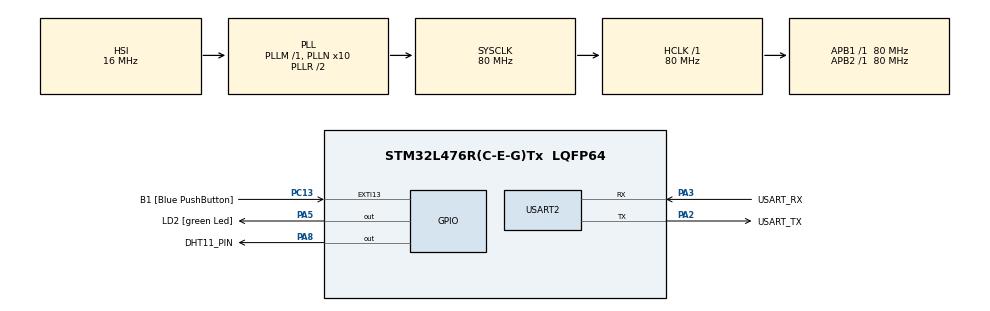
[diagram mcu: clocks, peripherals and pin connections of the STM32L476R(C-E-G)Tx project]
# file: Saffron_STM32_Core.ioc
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Mcu.Family=STM32L4
Mcu.Name=STM32L476R(C-E-G)Tx
Mcu.Package=LQFP64
NVIC.PriorityGroup=NVIC_PRIORITYGROUP_4
NVIC.USART2_IRQn=true\:0\:0\:false\:false\:true\:true\:true\:true
PA13\ (JTMS-SWDIO).GPIO_Label=TMS
PA13\ (JTMS-SWDIO).Mode=Serial_Wire
PA13\ (JTMS-SWDIO).Signal=SYS_JTMS-SWDIO
PA14\ (JTCK-SWCLK).GPIO_Label=TCK
PA14\ (JTCK-SWCLK).Mode=Serial_Wire
PA14\ (JTCK-SWCLK).Signal=SYS_JTCK-SWCLK
PA2.GPIO_Label=USART_TX
PA2.GPIO_Mode=GPIO_MODE_AF_PP
PA2.GPIO_PuPd=GPIO_NOPULL
PA2.GPIO_Speed=GPIO_SPEED_FREQ_VERY_HIGH
PA2.Mode=Asynchronous
PA2.Signal=USART2_TX
PA3.GPIO_Label=USART_RX
PA3.GPIO_Mode=GPIO_MODE_AF_PP
PA3.GPIO_PuPd=GPIO_NOPULL
PA3.GPIO_Speed=GPIO_SPEED_FREQ_VERY_HIGH
PA3.Mode=Asynchronous
PA3.Signal=USART2_RX
PA5.GPIO_Label=LD2 [green Led]
PA5.GPIO_ModeDefaultOutputPP=GPIO_MODE_OUTPUT_PP
PA5.GPIO_PuPd=GPIO_NOPULL
PA5.GPIO_Speed=GPIO_SPEED_FREQ_LOW
PA5.Signal=GPIO_Output
PA8.GPIO_Label=DHT11_PIN
PA8.Signal=GPIO_Output
PB3\ (JTDO-TRACESWO).GPIO_Label=SWO
PB3\ (JTDO-TRACESWO).Signal=SYS_JTDO-SWO
PC13.GPIO_Label=B1 [Blue PushButton]
PC13.GPIO_ModeDefaultEXTI=GPIO_MODE_IT_FALLING
PC13.GPIO_PuPd=GPIO_NOPULL
PC13.Signal=GPXTI13
PC14-OSC32_IN\ (PC14).Mode=LSE-External-Oscillator
PC14-OSC32_IN\ (PC14).Signal=RCC_OSC32_IN
PC15-OSC32_OUT\ (PC15).Mode=LSE-External-Oscillator
PC15-OSC32_OUT\ (PC15).Signal=RCC_OSC32_OUT
PH0-OSC_IN\ (PH0).Mode=HSE-External-Clock-Source
PH0-OSC_IN\ (PH0).Signal=RCC_OSC_IN
PH1-OSC_OUT\ (PH1).Signal=RCC_OSC_OUT
ProjectManager.HeapSize=0x200
ProjectManager.StackSize=0x400
ProjectManager.TargetToolchain=STM32CubeIDE
RCC.ADCFreq_Value=64000000
RCC.AHBFreq_Value=80000000
RCC.APB1Freq_Value=80000000
RCC.APB1TimFreq_Value=80000000
RCC.APB2Freq_Value=80000000
RCC.APB2TimFreq_Value=80000000
RCC.CortexFreq_Value=80000000
RCC.HCLKFreq_Value=80000000
RCC.HSE_VALUE=8000000
RCC.HSI_VALUE=16000000
RCC.MSI_VALUE=4000000
RCC.PLLN=10
RCC.PLLSourceVirtual=RCC_PLLSOURCE_HSI
RCC.PREFETCH_ENABLE=1
RCC.SYSCLKFreq_VALUE=80000000
RCC.SYSCLKSource=RCC_SYSCLKSOURCE_PLLCLK
RCC.USBFreq_Value=64000000
RCC.VCOOutputFreq_Value=160000000
USART2.VirtualMode-Asynchronous=VM_ASYNC
board=NUCLEO-L476RG

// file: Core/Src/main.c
/* USER CODE BEGIN Header */
/**
  ******************************************************************************
  * @file           : main.c
  * @brief          : Main program body
  ******************************************************************************
  * @attention
  *
  * Copyright (c) 2025 STMicroelectronics.
  * All rights reserved.
  *
  * This software is licensed under terms that can be found in the LICENSE file
  * in the root directory of this software component.
  * If no LICENSE file comes with this software, it is provided AS-IS.
  *
  ******************************************************************************
  */
/* USER CODE END Header */
#include "main.h"

/* USER CODE BEGIN Includes */
#include "dht11.h"
#include <stdio.h>   // <-- 添加这一行
#include <string.h>  // <-- 添加这一行
/* USER CODE END Includes */

UART_HandleTypeDef huart2;

/* USER CODE BEGIN PV */
#define RX_BUFFER_SIZE 64 // 定义接收缓冲区的最大长度
uint8_t rx_buffer[RX_BUFFER_SIZE]; // 接收缓冲区
uint8_t rx_data; // 用于存放 HAL_UART_Receive_IT 接收到的单个字节
uint8_t rx_index = 0; // 接收缓冲区的索引
uint8_t command_received = 0; // 命令接收完成标志
/* USER CODE END PV */

void SystemClock_Config(void);
static void MX_GPIO_Init(void);
static void MX_USART2_UART_Init(void);

int main(void)
{

  /* MCU Configuration--------------------------------------------------------*/

  /* Reset of all peripherals, Initializes the Flash interface and the Systick. */
  HAL_Init();

  /* Configure the system clock */
  SystemClock_Config();

  /* Initialize all configured peripherals */
  MX_GPIO_Init();
  MX_USART2_UART_Init();
  /* USER CODE BEGIN 2 */
  // 启用DWT外设，用于微秒级延时
  CoreDebug->DEMCR |= CoreDebug_DEMCR_TRCENA_Msk;
  DWT->CTRL |= DWT_CTRL_CYCCNTENA_Msk;
  DHT11_Data_TypeDef dht_data;
  char tx_buffer[100]; // 定义一个足够大的缓冲区来存放我们的JSON字符串
  HAL_UART_Receive_IT(&huart2, &rx_data, 1);
  /* USER CODE END 2 */

  /* Infinite loop */
  while (1)
  {

	  /* USER CODE BEGIN 3 */
	  // 检查是否有新命令需要处理
	  if (command_received)
	  {
	      // 解析命令
	      // 为了节省资源，我们使用简单的字符串查找，而不是完整的JSON解析
	      if (strstr((char*)rx_buffer, "\"actuator\":\"led\"") && strstr((char*)rx_buffer, "\"action\":\"on\""))
	      {
	          led_on();
	      }
	      else if (strstr((char*)rx_buffer, "\"actuator\":\"led\"") && strstr((char*)rx_buffer, "\"action\":\"off\""))
	      {
	          led_off();
	      }

	      // 处理完毕后，清除命令接收完成标志和缓冲区
	      command_received = 0;
	      memset(rx_buffer, 0, RX_BUFFER_SIZE);
	  }

	  // ---- 温湿度数据读取与发送逻辑 ----
	  if (DHT11_Read_Data(&dht_data)) // 检查是否读取成功
	  {
	    // 1. 使用 sprintf 将数据格式化为 JSON 字符串
	    //    - \" 是转义字符，用来在字符串中表示双引号 "
	    //    - %d 是整数的占位符
	    //    - \r\n 是回车换行符，非常重要，它将作为我们消息的结束标志
	    sprintf(tx_buffer, "{\"temp\":%d,\"humi\":%d}\r\n", dht_data.temperature, dht_data.humidity);

	    // 2. 通过 USART2 发送格式化后的字符串
	    //    - &huart2 是 CubeMX 自动生成的串口句柄
	    //    - (uint8_t*)tx_buffer 是将字符串强制转换为无符号8位整型指针
	    //    - strlen(tx_buffer) 是字符串的实际长度
	    //    - HAL_MAX_DELAY 是超时时间，表示一直等待直到发送完成
	    HAL_UART_Transmit(&huart2, (uint8_t*)tx_buffer, strlen(tx_buffer), HAL_MAX_DELAY);
	  }

	  HAL_Delay(2000); // 延时2秒再进行下一次读取和发送
  }
  /* USER CODE END 3 */
}

void SystemClock_Config(void)
{
  RCC_OscInitTypeDef RCC_OscInitStruct = {0};
  RCC_ClkInitTypeDef RCC_ClkInitStruct = {0};

  /** Configure the main internal regulator output voltage
  */
  if (HAL_PWREx_ControlVoltageScaling(PWR_REGULATOR_VOLTAGE_SCALE1) != HAL_OK)
  {
    Error_Handler();
  }

  /** Initializes the RCC Oscillators according to the specified parameters
  * in the RCC_OscInitTypeDef structure.
  */
  RCC_OscInitStruct.OscillatorType = RCC_OSCILLATORTYPE_HSI;
  RCC_OscInitStruct.HSIState = RCC_HSI_ON;
  RCC_OscInitStruct.HSICalibrationValue = RCC_HSICALIBRATION_DEFAULT;
  RCC_OscInitStruct.PLL.PLLState = RCC_PLL_ON;
  RCC_OscInitStruct.PLL.PLLSource = RCC_PLLSOURCE_HSI;
  RCC_OscInitStruct.PLL.PLLM = 1;
  RCC_OscInitStruct.PLL.PLLN = 10;
  RCC_OscInitStruct.PLL.PLLP = RCC_PLLP_DIV7;
  RCC_OscInitStruct.PLL.PLLQ = RCC_PLLQ_DIV2;
  RCC_OscInitStruct.PLL.PLLR = RCC_PLLR_DIV2;
  if (HAL_RCC_OscConfig(&RCC_OscInitStruct) != HAL_OK)
  {
    Error_Handler();
  }

  /** Initializes the CPU, AHB and APB buses clocks
  */
  RCC_ClkInitStruct.ClockType = RCC_CLOCKTYPE_HCLK|RCC_CLOCKTYPE_SYSCLK
                              |RCC_CLOCKTYPE_PCLK1|RCC_CLOCKTYPE_PCLK2;
  RCC_ClkInitStruct.SYSCLKSource = RCC_SYSCLKSOURCE_PLLCLK;
  RCC_ClkInitStruct.AHBCLKDivider = RCC_SYSCLK_DIV1;
  RCC_ClkInitStruct.APB1CLKDivider = RCC_HCLK_DIV1;
  RCC_ClkInitStruct.APB2CLKDivider = RCC_HCLK_DIV1;

  if (HAL_RCC_ClockConfig(&RCC_ClkInitStruct, FLASH_LATENCY_4) != HAL_OK)
  {
    Error_Handler();
  }
}

static void MX_USART2_UART_Init(void)
{

  huart2.Instance = USART2;
  huart2.Init.BaudRate = 115200;
  huart2.Init.WordLength = UART_WORDLENGTH_8B;
  huart2.Init.StopBits = UART_STOPBITS_1;
  huart2.Init.Parity = UART_PARITY_NONE;
  huart2.Init.Mode = UART_MODE_TX_RX;
  huart2.Init.HwFlowCtl = UART_HWCONTROL_NONE;
  huart2.Init.OverSampling = UART_OVERSAMPLING_16;
  huart2.Init.OneBitSampling = UART_ONE_BIT_SAMPLE_DISABLE;
  huart2.AdvancedInit.AdvFeatureInit = UART_ADVFEATURE_NO_INIT;
  if (HAL_UART_Init(&huart2) != HAL_OK)
  {
    Error_Handler();
  }

}

static void MX_GPIO_Init(void)
{
  GPIO_InitTypeDef GPIO_InitStruct = {0};

  /* GPIO Ports Clock Enable */
  __HAL_RCC_GPIOC_CLK_ENABLE();
  __HAL_RCC_GPIOH_CLK_ENABLE();
  __HAL_RCC_GPIOA_CLK_ENABLE();
  __HAL_RCC_GPIOB_CLK_ENABLE();

  /*Configure GPIO pin Output Level */
  HAL_GPIO_WritePin(GPIOA, LD2_Pin|DHT11_PIN_Pin, GPIO_PIN_RESET);

  /*Configure GPIO pin : B1_Pin */
  GPIO_InitStruct.Pin = B1_Pin;
  GPIO_InitStruct.Mode = GPIO_MODE_IT_FALLING;
  GPIO_InitStruct.Pull = GPIO_NOPULL;
  HAL_GPIO_Init(B1_GPIO_Port, &GPIO_InitStruct);

  /*Configure GPIO pins : LD2_Pin DHT11_PIN_Pin */
  GPIO_InitStruct.Pin = LD2_Pin|DHT11_PIN_Pin;
  GPIO_InitStruct.Mode = GPIO_MODE_OUTPUT_PP;
  GPIO_InitStruct.Pull = GPIO_NOPULL;
  GPIO_InitStruct.Speed = GPIO_SPEED_FREQ_LOW;
  HAL_GPIO_Init(GPIOA, &GPIO_InitStruct);

}

/* USER CODE BEGIN 4 */
// LED 控制函数
void led_on(void)
{
    HAL_GPIO_WritePin(LD2_GPIO_Port, LD2_Pin, GPIO_PIN_SET);
}

void led_off(void)
{
    HAL_GPIO_WritePin(LD2_GPIO_Port, LD2_Pin, GPIO_PIN_RESET);
}

/**
  * @brief  串口接收完成回调函数
  * @param  huart: UART handle
  * @retval None
  */
void HAL_UART_RxCpltCallback(UART_HandleTypeDef *huart)
{
    // 判断是否是来自USART2的中断
    if (huart->Instance == USART2)
    {
        // 如果接收到的字符不是换行符，则存入缓冲区
        if (rx_data != '\n' && rx_index < RX_BUFFER_SIZE)
        {
            rx_buffer[rx_index++] = rx_data;
        }
        else
        {
            // 接收到换行符，表示一条命令结束
            rx_buffer[rx_index] = '\0'; // 添加字符串结束符
            command_received = 1; // 设置命令接收完成标志
            rx_index = 0; // 重置索引，为下一条命令做准备
        }

        // 重新启动串口接收中断，准备接收下一个字节
        // 这是至关重要的一步！
        HAL_UART_Receive_IT(&huart2, &rx_data, 1);
    }
}
/* USER CODE END 4 */

void Error_Handler(void)
{
  __disable_irq();
  while (1)
  {
  }
}
